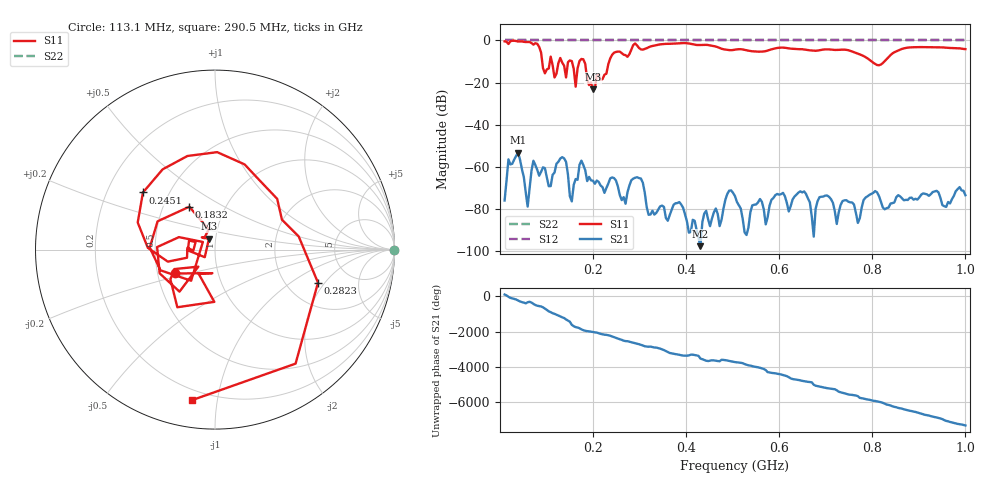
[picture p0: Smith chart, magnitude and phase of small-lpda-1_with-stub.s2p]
! Anritsu VNA Master:  Model: MS2024B
! SN:  2417009
! /card0/usr/small-lpda-1_with-stub.s2p
! Existing Calibration Information:
! TYPE:  Current Settings,  Active Cal Settings
! TIME:  09/04/2026 05:05:16 AM,  09/04/2026 04:35:19 AM
! INTERNAL TEMP:  52.8 C,  52.5 C
! # POINTS:  241,  241
! START FREQ:  10.000 MHz,  10.000 MHz
! STOP FREQ:  1.000 GHz,  1.000 GHz
! SOURCE POWER:  Default,  Default
! IFBW:  1 kHz,  1 kHz
! AVG FACTOR:  16 ,  16
! REF PLANE 1:  0 mm,  0 mm
! REF PLANE 2:  0 mm,  0 mm
! CAL TYPE:  1P2P S11,S21,  1P2P S11,S21
! CAL METHOD:  SOLT,  SOLT
! CAL LINE TYPE:  Coax,  Coax
! DUT PORT 1:  N-Conn(M),  N-Conn(M)
! DUT PORT 2:  N-Conn(M),  N-Conn(M)
! CAL STATUS:  OK: Accuracy High,  --
# GHZ S DB R 50.0
! FREQ.GHZ  S11DB  S11A  S21DB  S21A  S12DB  S12A  S22DB  S22A
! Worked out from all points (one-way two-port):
!   241 points, 10 MHz to 1 GHz, reference 50 ohm
!   highest |S21| = -53.18 dB at 38.88 MHz (marker M1); lowest = -97.6 dB at 430.8 MHz (marker M2)
!   lowest |S11| = -23.2 dB at 199.8 MHz (marker M3), VSWR 1.15, Z = 46.4 + j5.6 ohm
!   |S11| at or under -10 dB: 90.73 MHz to 107.3 MHz (16.56 MHz wide, 16.7 % of centre); 181.1 MHz to 234.7 MHz (53.58 MHz wide, 25.8 % of centre); 798.9 MHz to 825.9 MHz (26.98 MHz wide, 3.32 % of centre)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
!   |S22| runs from 0.0 to 0.0 dB; largest |S21 - S12| = 1
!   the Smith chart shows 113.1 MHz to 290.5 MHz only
!   S11 on the Smith chart (normalised r, x): 113.1 MHz: 0.62, -0.18; 183.2 MHz: 0.68, +0.35; 245.1 MHz: 0.36, +0.31; 282.2 MHz: 2.95, -1.71; 290.5 MHz: 0.14, -0.85
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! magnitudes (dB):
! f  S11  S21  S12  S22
! 10 MHz  -0.4  -75.9  0.0  0.0
! 18.25 MHz  -1.7  -56.4  0.0  0.0
! 38.88 MHz  -0.5  -53.2  0.0  0.0
! 59.5 MHz  -0.8  -78.8  0.0  0.0
! 71.88 MHz  -2.0  -57.1  0.0  0.0
! 113.1 MHz  -11.7  -63.8  0.0  0.0
! 137.9 MHz  -12.0  -56.0  0.0  0.0
! 154.4 MHz  -9.8  -76.4  0.0  0.0
! 162.6 MHz  -22.0  -65.7  0.0  0.0
! 175 MHz  -8.8  -57.0  0.0  0.0
! 183.2 MHz  -11.1  -61.6  0.0  0.0
! 199.8 MHz  -23.2  -66.5  0.0  0.0
! 245.1 MHz  -5.8  -65.3  0.0  0.0
! 269.9 MHz  -7.0  -77.5  0.0  0.0
! 282.2 MHz  -4.4  -66.4  0.0  0.0
! 290.5 MHz  -1.4  -65.1  0.0  0.0
! 340 MHz  -2.1  -80.3  0.0  0.0
! 430.8 MHz  -2.2  -97.6  0.0  0.0
! 505 MHz  -4.3  -73.9  0.0  0.0
! 670 MHz  -4.8  -83.6  0.0  0.0
! 835 MHz  -7.9  -79.3  0.0  0.0
! 1 GHz  -4.1  -73.4  0.0  0.0
